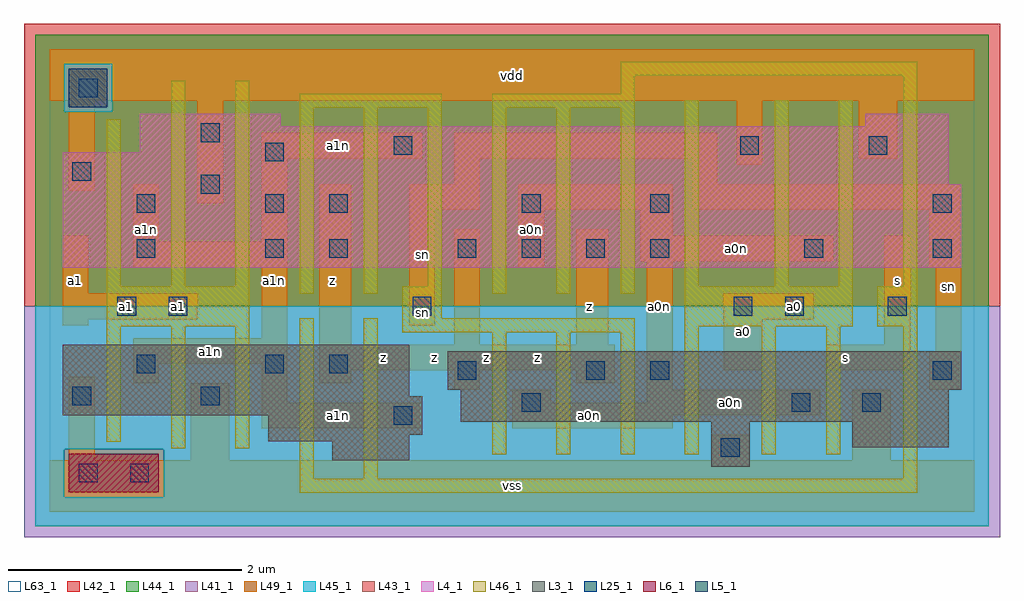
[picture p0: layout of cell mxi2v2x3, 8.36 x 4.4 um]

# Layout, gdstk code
import gdstk
lib = gdstk.Library(unit=1e-6, precision=1e-09)
def R(c, l, rs):  # rectangles x0, y0, x1, y1
    for r in rs: c.add(gdstk.rectangle(r[:2], r[2:], *l))
def A(c, l, x, y, w, h, nx, ny, dx, dy):  # array of equal rectangles
    R(c, l, [(x+i*dx, y+j*dy, x+i*dx+w, y+j*dy+h) for i in range(nx) for j in range(ny)])
L3_1 = (3, 1)
L4_1 = (4, 1)
L5_1 = (5, 1)
L6_1 = (6, 1)
L25_1 = (25, 1)
L41_1 = (41, 1)
L42_1 = (42, 1)
L43_1 = (43, 1)
L44_1 = (44, 1)
L45_1 = (45, 1)
L46_1 = (46, 1)
L49_1 = (49, 1)
L63_1 = (63, 1)

mxi2v2x3 = lib.new_cell('mxi2v2x3')
R(mxi2v2x3, L3_1, [(5.665,0.385,5.995,0.77), (2.42,0.44,3.08,0.605), (6.875,0.55,7.7,0.77), (1.87,0.605,3.08,0.66), (1.87,0.66,3.19,0.825), (3.52,0.77,7.7,1.045), (0.11,0.825,3.19,0.99), (0.11,0.99,3.08,1.43), (3.41,1.045,7.81,1.375)])
R(mxi2v2x3, L4_1, [(0.11,2.09,7.81,2.805), (0.11,2.805,7.7,3.08), (0.77,3.08,7.7,3.3), (0.77,3.3,1.98,3.41), (6.985,3.3,7.7,3.41)])
R(mxi2v2x3, L5_1, [(0.165,3.465,0.495,3.795)])
R(mxi2v2x3, L6_1, [(0.165,0.165,0.935,0.495)])
A(mxi2v2x3, L25_1, 3.495, 2.175, 0.16, 0.16, 4, 1, 0.55, 0)
R(mxi2v2x3, L25_1, [(0.25,0.25,0.41,0.41), (0.69,0.25,0.85,0.41), (5.75,0.47,5.91,0.63), (2.945,0.745,3.105,0.905), (4.045,0.855,4.205,1.015), (6.355,0.855,6.515,1.015), (6.96,0.855,7.12,1.015), (0.195,0.91,0.355,1.07), (1.295,0.91,1.455,1.07), (3.495,1.13,3.655,1.29), (4.595,1.13,4.755,1.29), (5.145,1.13,5.305,1.29), (7.565,1.13,7.725,1.29), (0.745,1.185,0.905,1.345), (1.845,1.185,2.005,1.345), (2.395,1.185,2.555,1.345), (0.58,1.68,0.74,1.84), (1.02,1.68,1.18,1.84), (3.11,1.68,3.27,1.84), (5.86,1.68,6.02,1.84), (6.3,1.68,6.46,1.84), (7.18,1.68,7.34,1.84), (0.745,2.175,0.905,2.335), (1.845,2.175,2.005,2.335), (2.395,2.175,2.555,2.335), (6.465,2.175,6.625,2.335), (7.565,2.175,7.725,2.335), (0.745,2.56,0.905,2.72), (1.845,2.56,2.005,2.72), (2.395,2.56,2.555,2.72), (4.045,2.56,4.205,2.72), (5.145,2.56,5.305,2.72), (7.565,2.56,7.725,2.72), (1.295,2.725,1.455,2.885), (0.195,2.835,0.355,2.995), (1.845,3,2.005,3.16), (2.945,3.055,3.105,3.215), (5.915,3.055,6.075,3.215), (7.015,3.055,7.175,3.215), (1.295,3.165,1.455,3.325), (0.25,3.55,0.41,3.71)])
R(mxi2v2x3, L41_1, [(-0.22,-0.22,8.14,1.76)])
R(mxi2v2x3, L42_1, [(-0.22,1.76,8.14,4.18)])
R(mxi2v2x3, L43_1, [(0.165,0.165,0.935,0.495), (5.665,0.385,5.995,0.77), (2.42,0.44,3.08,0.605), (6.875,0.55,7.7,0.77), (1.87,0.605,3.08,0.66), (1.87,0.66,3.19,0.825), (3.52,0.77,7.7,1.045), (0.11,0.825,3.19,0.99), (0.11,0.99,3.08,1.43), (3.41,1.045,7.81,1.375), (0.11,2.09,7.81,2.805), (0.11,2.805,7.7,3.08), (0.77,3.08,7.7,3.3), (0.77,3.3,1.98,3.41), (6.985,3.3,7.7,3.41), (0.165,3.465,0.495,3.795)])
R(mxi2v2x3, L44_1, [(0.125,0.125,0.975,0.535), (-0.125,1.76,8.045,3.425), (-0.125,3.425,0.125,3.835), (0.535,3.425,8.045,3.835), (-0.125,3.835,8.045,4.085)])
R(mxi2v2x3, L45_1, [(-0.125,-0.125,8.045,0.125), (-0.125,0.125,0.125,0.535), (0.975,0.125,8.045,0.535), (-0.125,0.535,8.045,1.76), (0.125,3.425,0.535,3.835)])
A(mxi2v2x3, L46_1, 3.79, 0.49, 0.12, 1.045, 3, 1, 0.55, 0)
A(mxi2v2x3, L46_1, 3.79, 1.865, 0.12, 1.595, 3, 1, 0.55, 0)
R(mxi2v2x3, L46_1, [(2.14,0.16,7.43,0.28), (2.14,0.28,2.26,1.655), (2.69,0.28,2.81,1.655), (7.31,0.28,7.43,1.59), (5.44,0.49,5.56,1.59), (6.1,0.49,6.22,1.59), (6.65,0.49,6.77,1.59), (1.04,0.545,1.16,1.59), (1.59,0.545,1.71,1.59), (0.49,0.6,0.61,1.59), (3.02,1.535,5.01,1.655), (0.49,1.59,1.71,1.93), (5.44,1.59,6.88,1.93), (7.09,1.59,7.43,1.93), (3.02,1.655,3.36,1.93), (2.14,1.865,2.26,3.46), (2.69,1.865,2.81,3.46), (0.49,1.93,0.61,3.36), (1.04,1.93,1.16,3.69), (1.59,1.93,1.71,3.69), (3.24,1.93,3.36,3.46), (5.44,1.93,5.56,3.525), (6.21,1.93,6.33,3.525), (6.76,1.93,6.88,3.525), (7.31,1.93,7.43,3.735), (2.14,3.46,3.36,3.58), (3.79,3.46,5.01,3.58), (4.89,3.58,5.01,3.735), (4.89,3.735,7.43,3.855)])
R(mxi2v2x3, L49_1, [(0,0,7.92,0.44), (0.165,0.44,0.385,1.155), (1.21,0.44,1.54,1.1), (5.665,0.44,5.995,0.66), (6.875,0.44,7.205,1.045), (1.815,0.715,3.19,0.935), (3.96,0.715,5.335,0.825), (3.96,0.825,6.6,0.935), (1.815,0.935,2.035,1.265), (3.96,0.935,4.29,1.045), (5.115,0.935,6.6,1.045), (3.465,1.045,3.685,1.21), (5.115,1.045,5.335,2.145), (7.535,1.045,7.81,1.375), (0.715,1.1,0.935,1.265), (2.31,1.1,2.585,1.21), (4.51,1.1,4.84,1.21), (2.31,1.21,4.84,1.43), (5.775,1.21,6.105,1.65), (6.655,1.21,7.37,1.43), (0.715,1.265,2.035,1.485), (7.59,1.375,7.81,2.09), (2.31,1.43,2.585,2.805), (3.465,1.43,3.685,2.42), (4.51,1.43,4.785,2.42), (7.15,1.43,7.37,2.365), (1.815,1.485,2.035,2.09), (0.11,1.595,0.33,1.65), (3.08,1.595,3.3,2.585), (0.11,1.65,1.265,1.87), (5.775,1.65,6.545,1.87), (0.11,1.87,0.33,2.365), (0.715,2.09,2.035,2.31), (4.015,2.09,4.235,2.585), (7.535,2.09,7.81,2.585), (5.06,2.145,6.71,2.365), (0.715,2.31,0.935,2.805), (1.815,2.31,2.035,3.025), (5.06,2.365,5.335,2.585), (3.08,2.585,3.685,2.805), (4.015,2.585,5.335,2.805), (5.5,2.585,7.81,2.805), (1.265,2.64,1.485,3.52), (0.165,2.75,0.385,3.52), (3.465,2.805,3.685,3.025), (5.5,2.805,5.72,3.025), (5.885,2.97,6.105,3.52), (1.815,3.025,3.19,3.245), (3.465,3.025,5.72,3.245), (6.93,3.025,7.26,3.52), (0,3.52,7.92,3.96)])
R(mxi2v2x3, L63_1, [(0,0,7.92,3.96)])
mxi2v2x3.add(gdstk.Label('sn', (3.19,1.705), layer=49, texttype=1))
mxi2v2x3.add(gdstk.Label('a1', (1.1,1.76), layer=49, texttype=1))
mxi2v2x3.add(gdstk.Label('a1', (0.66,1.76), layer=49, texttype=1))
mxi2v2x3.add(gdstk.Label('a1', (0.22,1.98), layer=49, texttype=1))
mxi2v2x3.add(gdstk.Label('a1n', (0.825,2.42), layer=49, texttype=1))
mxi2v2x3.add(gdstk.Label('a1n', (1.375,1.375), layer=49, texttype=1))
mxi2v2x3.add(gdstk.Label('z', (2.86,1.32), layer=49, texttype=1))
mxi2v2x3.add(gdstk.Label('z', (2.42,1.98), layer=49, texttype=1))
mxi2v2x3.add(gdstk.Label('a1n', (1.925,1.98), layer=49, texttype=1))
mxi2v2x3.add(gdstk.Label('vss', (3.96,0.22), layer=49, texttype=1))
mxi2v2x3.add(gdstk.Label('a1n', (2.475,0.825), layer=49, texttype=1))
mxi2v2x3.add(gdstk.Label('z', (3.3,1.32), layer=49, texttype=1))
mxi2v2x3.add(gdstk.Label('z', (4.18,1.32), layer=49, texttype=1))
mxi2v2x3.add(gdstk.Label('z', (3.74,1.32), layer=49, texttype=1))
mxi2v2x3.add(gdstk.Label('z', (4.62,1.76), layer=49, texttype=1))
mxi2v2x3.add(gdstk.Label('a0n', (4.125,2.42), layer=49, texttype=1))
mxi2v2x3.add(gdstk.Label('sn', (3.19,2.2), layer=49, texttype=1))
mxi2v2x3.add(gdstk.Label('a1n', (2.475,3.135), layer=49, texttype=1))
mxi2v2x3.add(gdstk.Label('vdd', (3.96,3.74), layer=49, texttype=1))
mxi2v2x3.add(gdstk.Label('a0n', (4.62,0.825), layer=49, texttype=1))
mxi2v2x3.add(gdstk.Label('a0', (5.94,1.54), layer=49, texttype=1))
mxi2v2x3.add(gdstk.Label('a0n', (5.225,1.76), layer=49, texttype=1))
mxi2v2x3.add(gdstk.Label('a0n', (5.83,0.935), layer=49, texttype=1))
mxi2v2x3.add(gdstk.Label('s', (6.82,1.32), layer=49, texttype=1))
mxi2v2x3.add(gdstk.Label('a0', (6.38,1.76), layer=49, texttype=1))
mxi2v2x3.add(gdstk.Label('s', (7.26,1.98), layer=49, texttype=1))
mxi2v2x3.add(gdstk.Label('a0n', (5.885,2.255), layer=49, texttype=1))
mxi2v2x3.add(gdstk.Label('sn', (7.7,1.925), layer=49, texttype=1))

lib.write_gds('mxi2v2x3.gds')
